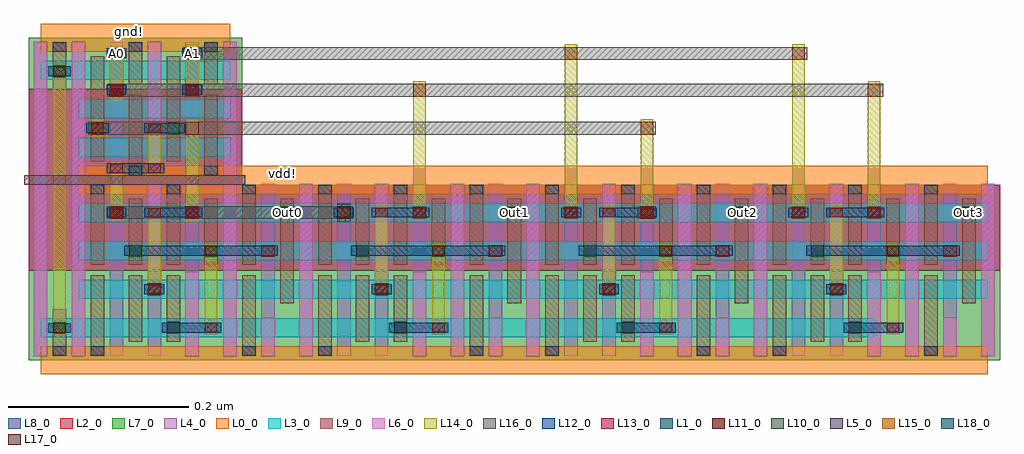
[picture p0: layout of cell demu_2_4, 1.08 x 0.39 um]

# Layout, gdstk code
from math import pi, radians
import gdstk
lib = gdstk.Library(unit=1e-6, precision=5e-10)
def R(c, l, rs):  # rectangles x0, y0, x1, y1
    for r in rs: c.add(gdstk.rectangle(r[:2], r[2:], *l))
def A(c, l, x, y, w, h, nx, ny, dx, dy):  # array of equal rectangles
    R(c, l, [(x+i*dx, y+j*dy, x+i*dx+w, y+j*dy+h) for i in range(nx) for j in range(ny)])
L0_0 = (0, 0)
L1_0 = (1, 0)
L2_0 = (2, 0)
L3_0 = (3, 0)
L4_0 = (4, 0)
L5_0 = (5, 0)
L6_0 = (6, 0)
L7_0 = (7, 0)
L8_0 = (8, 0)
L9_0 = (9, 0)
L10_0 = (10, 0)
L11_0 = (11, 0)
L12_0 = (12, 0)
L13_0 = (13, 0)
L14_0 = (14, 0)
L15_0 = (15, 0)
L16_0 = (16, 0)
L17_0 = (17, 0)
L18_0 = (18, 0)

nmos = lib.new_cell('nmos')
R(nmos, L3_0, [(-0.042,-0.0105,0.042,0.0105)])
A(nmos, L4_0, -0.0495, -0.032, 0.015, 0.064, 3, 1, 0.042, 0)
R(nmos, L7_0, [(-0.0555,-0.021,0.0555,0.0205)])
R(nmos, L9_0, [(-0.0285,-0.0155,-0.0135,0.0155), (0.0135,-0.0155,0.0285,0.0155)])

pmos = lib.new_cell('pmos')
R(pmos, L2_0, [(-0.042,-0.0205,0.042,0.0205)])
R(pmos, L3_0, [(-0.042,-0.0105,0.042,0.0105)])
A(pmos, L4_0, -0.0495, -0.032, 0.015, 0.064, 3, 1, 0.042, 0)
R(pmos, L8_0, [(-0.0555,-0.0205,0.0555,0.0205)])
R(pmos, L9_0, [(-0.0285,-0.0155,-0.0135,0.0155), (0.0135,-0.0155,0.0285,0.0155)])

bpr_m0a = lib.new_cell('BPR_M0A')
R(bpr_m0a, L0_0, [(-0.021,-0.0055,0.021,0.026)])
R(bpr_m0a, L1_0, [(-0.0075,-0.0055,0.0075,0.005)])
R(bpr_m0a, L9_0, [(-0.0075,-0.0165,0.0075,0.005)])

m0a_m0b = lib.new_cell('M0A_M0B')
R(m0a_m0b, L9_0, [(-0.0075,-0.0055,0.0075,0.0055)])
R(m0a_m0b, L10_0, [(-0.0065,-0.0065,0.0065,0.0065)])
R(m0a_m0b, L12_0, [(-0.0125,-0.0055,0.0125,0.0055)])

gate_m0b = lib.new_cell('GATE_M0B')
R(gate_m0b, L4_0, [(-0.0075,-0.0115,0.0075,0.0115)])
R(gate_m0b, L11_0, [(-0.0075,-0.0065,0.0075,0.0065)])
R(gate_m0b, L12_0, [(-0.011,-0.0055,0.011,0.0055)])

inv_2 = lib.new_cell('inv_2')
R(inv_2, L0_0, [(-0.042,-0.052,0.0415,-0.0205), (0.012,-0.0415,0.031,-0.0285), (-0.042,0.1055,0.0415,0.137), (0.0105,0.114,0.0315,0.127)])
R(inv_2, L2_0, [(-0.0555,0.021,0.0555,0.116)])
R(inv_2, L6_0, [(-0.0495,-0.032,-0.0345,0.117), (0.0345,-0.032,0.0495,0.117)])
R(inv_2, L7_0, [(-0.0555,-0.0365,0.0555,0.021)])
R(inv_2, L8_0, [(-0.0555,0.021,0.0555,0.116)])
R(inv_2, L9_0, [(0.0135,0.0155,0.0285,0.027), (-0.0285,0.058,-0.0135,0.0695), (0.0135,0.058,0.0285,0.0695)])
R(inv_2, L12_0, [(-0.0075,0.016,0.0075,0.027), (0.0135,0.0585,0.0285,0.0695)])
inv_2.add(gdstk.Reference(nmos, (0,0)))
inv_2.add(gdstk.Reference(pmos, (0,0.085)))
inv_2.add(gdstk.Reference(pmos, (0,0.0425)))
inv_2.add(gdstk.Reference(bpr_m0a, (-0.021,-0.026), x_reflection=True))
inv_2.add(gdstk.Reference(bpr_m0a, (-0.021,0.111)))
inv_2.add(gdstk.Reference(m0a_m0b, (0.021,0.064)))
inv_2.add(gdstk.Reference(gate_m0b, (0,0.0215)))
inv_2.add(gdstk.Label('gnd!', (0.0215,-0.035), layer=0, texttype=0))
inv_2.add(gdstk.Label('vdd!', (0.021,0.1205), layer=0, texttype=0))
inv_2.add(gdstk.Label('Z', (0.021,0.064), layer=12, texttype=0))
inv_2.add(gdstk.Label('A', (0,0.0215), layer=12, texttype=0))

m0b_m1 = lib.new_cell('M0B_M1')
R(m0b_m1, L12_0, [(-0.011,-0.005,0.011,0.005)])
R(m0b_m1, L13_0, [(-0.007,-0.005,0.007,0.005)])
R(m0b_m1, L14_0, [(-0.007,-0.0075,0.007,0.0075)])

and_2 = lib.new_cell('and_2')
R(and_2, L0_0, [(0.4025,0.176,0.6545,0.2075), (0.5,0.1795,0.5265,0.1935), (0.4025,0.376,0.6545,0.4075), (0.535,0.392,0.5595,0.404)])
R(and_2, L2_0, [(0.389,0.2915,0.668,0.3865)])
R(and_2, L3_0, [(0.5285,0.26,0.5705,0.281)])
R(and_2, L4_0, [(0.563,0.196,0.578,0.2415), (0.605,0.196,0.62,0.2385), (0.647,0.196,0.662,0.281)])
A(and_2, L6_0, 0.395, 0.3235, 0.015, 0.064, 4, 1, 0.084, 0)
R(and_2, L6_0, [(0.395,0.196,0.41,0.281), (0.521,0.196,0.536,0.29), (0.563,0.196,0.578,0.29), (0.605,0.196,0.62,0.2395), (0.647,0.196,0.662,0.281), (0.395,0.281,0.41,0.345), (0.647,0.281,0.662,0.345), (0.479,0.29,0.494,0.345), (0.563,0.29,0.578,0.345)])
R(and_2, L7_0, [(0.389,0.1915,0.668,0.2915)])
R(and_2, L8_0, [(0.389,0.2915,0.668,0.3865)])
R(and_2, L9_0, [(0.584,0.217,0.599,0.2565), (0.416,0.2415,0.431,0.256), (0.458,0.2425,0.473,0.256), (0.5,0.2425,0.515,0.256), (0.626,0.284,0.641,0.2995), (0.416,0.3255,0.431,0.343), (0.458,0.326,0.473,0.3425), (0.5,0.3265,0.515,0.3425), (0.584,0.3265,0.599,0.3425), (0.626,0.3265,0.641,0.342), (0.542,0.327,0.557,0.342)])
R(and_2, L12_0, [(0.495,0.2225,0.5605,0.2335), (0.453,0.3075,0.6235,0.3185), (0.437,0.35,0.452,0.361), (0.4755,0.35,0.5395,0.361), (0.521,0.35,0.536,0.361), (0.627,0.35,0.641,0.361)])
R(and_2, L14_0, [(0.5425,0.2205,0.5565,0.3205), (0.4795,0.263,0.4935,0.3625)])
and_2.add(gdstk.Reference(pmos, (0.4445,0.3555)))
and_2.add(gdstk.Reference(pmos, (0.5285,0.3555)))
and_2.add(gdstk.Reference(pmos, (0.6125,0.3555)))
and_2.add(gdstk.Reference(pmos, (0.6125,0.313)))
and_2.add(gdstk.Reference(pmos, (0.5285,0.313)))
and_2.add(gdstk.Reference(pmos, (0.4445,0.313)))
and_2.add(gdstk.Reference(nmos, (0.4445,0.228)))
and_2.add(gdstk.Reference(nmos, (0.4865,0.228)))
and_2.add(gdstk.Reference(nmos, (0.6125,0.2705)))
and_2.add(gdstk.Reference(nmos, (0.4865,0.2705)))
and_2.add(gdstk.Reference(nmos, (0.4445,0.2705)))
and_2.add(gdstk.Reference(gate_m0b, (0.6125,0.313)))
and_2.add(gdstk.Reference(gate_m0b, (0.4865,0.2705)))
and_2.add(gdstk.Reference(gate_m0b, (0.5285,0.3555)))
and_2.add(gdstk.Reference(gate_m0b, (0.4445,0.3555)))
and_2.add(gdstk.Reference(m0a_m0b, (0.5075,0.228)))
and_2.add(gdstk.Reference(m0a_m0b, (0.5495,0.313)))
and_2.add(gdstk.Reference(m0a_m0b, (0.4655,0.313)))
and_2.add(gdstk.Reference(m0a_m0b, (0.6335,0.3555)))
and_2.add(gdstk.Reference(m0b_m1, (0.5495,0.228)))
and_2.add(gdstk.Reference(m0b_m1, (0.5495,0.313)))
and_2.add(gdstk.Reference(m0b_m1, (0.4865,0.355)))
and_2.add(gdstk.Reference(m0b_m1, (0.4865,0.2705)))
and_2.add(gdstk.Reference(bpr_m0a, (0.5915,0.202), rotation=pi))
and_2.add(gdstk.Reference(bpr_m0a, (0.4235,0.202), rotation=pi))
and_2.add(gdstk.Reference(bpr_m0a, (0.5915,0.3815)))
and_2.add(gdstk.Reference(bpr_m0a, (0.5075,0.3815)))
and_2.add(gdstk.Reference(bpr_m0a, (0.4235,0.3815)))
and_2.add(gdstk.Label('Z', (0.634,0.3555), layer=12, texttype=0))
and_2.add(gdstk.Label('B', (0.4445,0.3555), layer=12, texttype=0))
and_2.add(gdstk.Label('A', (0.5285,0.3555), layer=12, texttype=0))
and_2.add(gdstk.Label('vdd!', (0.547,0.398), layer=0, texttype=0))
and_2.add(gdstk.Label('gnd!', (0.513,0.1865), layer=0, texttype=0))

m1_m2 = lib.new_cell('M1_M2')
R(m1_m2, L14_0, [(-0.007,-0.01,0.007,0.01)])
R(m1_m2, L15_0, [(-0.007,-0.007,0.007,0.007)])
R(m1_m2, L16_0, [(-0.01,-0.007,0.01,0.007)])

m2_m3 = lib.new_cell('M2_M3')
R(m2_m3, L16_0, [(-0.01,-0.007,0.01,0.007)])
R(m2_m3, L17_0, [(-0.007,-0.007,0.007,0.007)])
R(m2_m3, L18_0, [(-0.0075,-0.01,0.0075,0.01)])

demu_2_4 = lib.new_cell('demu_2_4')
R(demu_2_4, L0_0, [(-0.013,0.0285,0.029,0.06), (0.2445,0.2445,0.267,0.2575), (-0.013,0.386,0.0295,0.4175), (0.113,0.386,0.1135,0.4175), (0.076,0.4045,0.096,0.414)])
R(demu_2_4, L2_0, [(-0.0265,0.144,0.0155,0.239), (-0.0265,0.239,0.2105,0.249), (-0.0265,0.249,0.0575,0.3445)])
A(demu_2_4, L3_0, 0.155, 0.07, 0.126, 0.021, 3, 1, 0.252, 0)
R(demu_2_4, L3_0, [(-0.013,0.07,0.029,0.091), (-0.013,0.355,0.029,0.376)])
A(demu_2_4, L4_0, 0.0215, 0.24, 0.015, 0.0085, 5, 1, 0.042, 0)
R(demu_2_4, L4_0, [(-0.0205,0.0485,-0.0055,0.3975)])
R(demu_2_4, L5_0, [(-0.0315,0.239,0.214,0.2495)])
A(demu_2_4, L6_0, 0.0215, 0.24, 0.015, 0.0085, 3, 1, 0.084, 0)
R(demu_2_4, L6_0, [(-0.0205,0.0485,-0.0055,0.3975)])
R(demu_2_4, L7_0, [(-0.0265,0.044,0.0155,0.144), (-0.0265,0.3445,0.0155,0.402)])
R(demu_2_4, L8_0, [(-0.0265,0.144,0.0155,0.239), (-0.0265,0.239,0.2105,0.2495), (-0.0265,0.249,0.0575,0.3445)])
R(demu_2_4, L9_0, [(0.0005,0.0675,0.0155,0.1005), (0.0005,0.344,0.0155,0.377)])
A(demu_2_4, L12_0, 0.2535, 0.2025, 0.014, 0.011, 3, 1, 0.252, 0)
R(demu_2_4, L12_0, [(1.0085,0.2025,1.0235,0.2135), (0.06,0.2515,0.124,0.2625), (0.102,0.296,0.1465,0.307), (0.06,0.379,0.082,0.39), (0.0635,0.379,0.0785,0.39), (0.144,0.379,0.166,0.39), (0.148,0.379,0.1625,0.39)])
R(demu_2_4, L14_0, [(0.001,0.0725,0.015,0.372), (0.148,0.1975,0.162,0.3115), (0.652,0.198,0.666,0.3115), (0.064,0.2005,0.078,0.2645), (0.4,0.2005,0.414,0.3535), (0.568,0.2005,0.582,0.3945), (0.82,0.2005,0.834,0.3945), (0.904,0.2005,0.918,0.3535), (0.106,0.2495,0.12,0.309), (0.064,0.345,0.078,0.392), (0.148,0.345,0.162,0.392)])
R(demu_2_4, L16_0, [(0.061,0.201,0.333,0.215), (0.04,0.2945,0.669,0.3085), (0.061,0.3365,0.921,0.3505), (0.145,0.3775,0.837,0.3915)])
demu_2_4.add(gdstk.Reference(inv_2, (0.155,0.3655), rotation=pi))
demu_2_4.add(gdstk.Reference(inv_2, (0.071,0.3655), rotation=pi))
demu_2_4.add(gdstk.Reference(and_2, (-0.1215,-0.1475)))
demu_2_4.add(gdstk.Reference(and_2, (0.1305,-0.1475)))
demu_2_4.add(gdstk.Reference(and_2, (0.3825,-0.1475)))
demu_2_4.add(gdstk.Reference(and_2, (-0.3735,-0.1475)))
demu_2_4.add(gdstk.Reference(bpr_m0a, (0.008,0.3915)))
demu_2_4.add(gdstk.Reference(bpr_m0a, (0.008,0.0545), rotation=pi))
demu_2_4.add(gdstk.Reference(m0a_m0b, (0.008,0.3645)))
demu_2_4.add(gdstk.Reference(m0a_m0b, (0.008,0.08)))
demu_2_4.add(gdstk.Reference(m0b_m1, (0.827,0.208)))
demu_2_4.add(gdstk.Reference(m0b_m1, (0.575,0.208)))
demu_2_4.add(gdstk.Reference(m0b_m1, (0.911,0.208)))
demu_2_4.add(gdstk.Reference(m0b_m1, (0.407,0.208)))
demu_2_4.add(gdstk.Reference(m0b_m1, (0.113,0.3015)))
demu_2_4.add(gdstk.Reference(m0b_m1, (0.323,0.208)))
demu_2_4.add(gdstk.Reference(m0b_m1, (0.071,0.257)))
demu_2_4.add(gdstk.Reference(m0b_m1, (0.113,0.257)))
demu_2_4.add(gdstk.Reference(m0b_m1, (0.071,0.208)))
demu_2_4.add(gdstk.Reference(m0b_m1, (0.659,0.208)))
demu_2_4.add(gdstk.Reference(m0b_m1, (0.155,0.2075)))
demu_2_4.add(gdstk.Reference(m0b_m1, (0.05,0.3015)))
demu_2_4.add(gdstk.Reference(m0b_m1, (0.071,0.3845)))
demu_2_4.add(gdstk.Reference(m0b_m1, (0.155,0.3845)))
demu_2_4.add(gdstk.Reference(m0b_m1, (0.155,0.3435)))
demu_2_4.add(gdstk.Reference(m0b_m1, (0.071,0.3435)))
demu_2_4.add(gdstk.Reference(m0b_m1, (0.008,0.3645)))
demu_2_4.add(gdstk.Reference(m0b_m1, (0.008,0.08)))
demu_2_4.add(gdstk.Reference(m1_m2, (0.827,0.3845)))
demu_2_4.add(gdstk.Reference(m1_m2, (0.575,0.3845)))
demu_2_4.add(gdstk.Reference(m1_m2, (0.155,0.3845)))
demu_2_4.add(gdstk.Reference(m1_m2, (0.911,0.3435)))
demu_2_4.add(gdstk.Reference(m1_m2, (0.407,0.3435)))
demu_2_4.add(gdstk.Reference(m1_m2, (0.071,0.3435)))
demu_2_4.add(gdstk.Reference(m1_m2, (0.323,0.208)))
demu_2_4.add(gdstk.Reference(m1_m2, (0.155,0.3015)))
demu_2_4.add(gdstk.Reference(m1_m2, (0.659,0.3015)))
demu_2_4.add(gdstk.Reference(m1_m2, (0.659,0.208)))
demu_2_4.add(gdstk.Reference(m1_m2, (0.071,0.208)))
demu_2_4.add(gdstk.Reference(m1_m2, (0.05,0.3015)))
demu_2_4.add(gdstk.Reference(m2_m3, (0.323,0.208)))
demu_2_4.add(gdstk.Label('gnd!', (0.086,0.409), layer=0, texttype=0))
demu_2_4.add(gdstk.Label('vdd!', (0.2555,0.251), layer=0, texttype=0))
demu_2_4.add(gdstk.Label('Out3', (1.016,0.208), layer=12, texttype=0))
demu_2_4.add(gdstk.Label('Out2', (0.7645,0.208), layer=12, texttype=0))
demu_2_4.add(gdstk.Label('Out1', (0.5125,0.208), layer=12, texttype=0))
demu_2_4.add(gdstk.Label('Out0', (0.2605,0.208), layer=12, texttype=0))
demu_2_4.add(gdstk.Label('A1', (0.155,0.3845), layer=12, texttype=0))
demu_2_4.add(gdstk.Label('A0', (0.071,0.3845), layer=12, texttype=0))

lib.write_gds('demu_2_4.gds')
